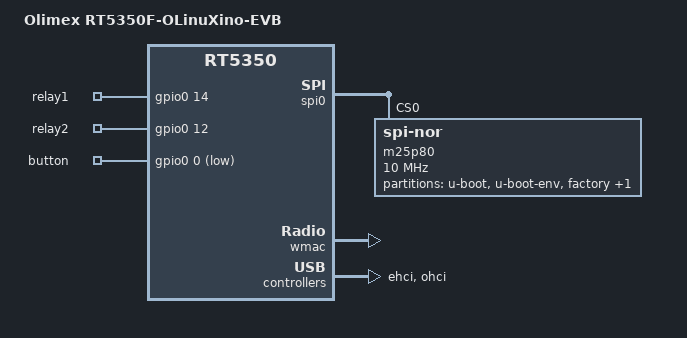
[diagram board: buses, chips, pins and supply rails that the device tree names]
/dts-v1/;

#include "rt5350.dtsi"

/ {
	compatible = "RT5350F-OLINUXINO-EVB", "ralink,rt5350-soc";
	model = "Olimex RT5350F-OLinuXino-EVB";

	gpio_export {
		compatible = "gpio-export";
		#size-cells = <0>;

		relay1 {
			gpio-export,name = "relay1";
			gpio-export,output = <0>;
			gpios = <&gpio0 14 0>;
		};

		relay2 {
			gpio-export,name = "relay2";
			gpio-export,output = <0>;
			gpios = <&gpio0 12 0>;
		};

		button {
			gpio-export,name = "button";
			gpios = <&gpio0 0 1>;
		};
	};
};

&spi0 {
	status = "okay";

	m25p80@0 {
		#address-cells = <1>;
		#size-cells = <1>;
		compatible = "jedec,spi-nor";
		reg = <0>;
		linux,modalias = "m25p80", "s25fl064k";
		spi-max-frequency = <10000000>;

		partition@0 {
			label = "u-boot";
			reg = <0x0 0x30000>;
			read-only;
		};

		partition@30000 {
			label = "u-boot-env";
			reg = <0x30000 0x10000>;
			read-only;
		};

		factory: partition@40000 {
			label = "factory";
			reg = <0x40000 0x10000>;
			read-only;
		};

		partition@50000 {
			label = "firmware";
			reg = <0x50000 0x3b0000>;
		};
	};
};

&gpio1 {
	status = "okay";
};

&pinctrl {
	state_default: pinctrl0 {
		gpio {
			ralink,group = "jtag", "rgmii", "mdio", "uartf";
			ralink,function = "gpio";
		};
	};
};

&ethernet {
	mtd-mac-address = <&factory 0x4>;
};

&esw {
	mediatek,portmap = <0x2f>;
	mediatek,led_polarity = <0x17>;
};

&wmac {
	ralink,mtd-eeprom = <&factory 0>;
};

&ehci {
	status = "okay";
};

&ohci {
	status = "okay";
};
